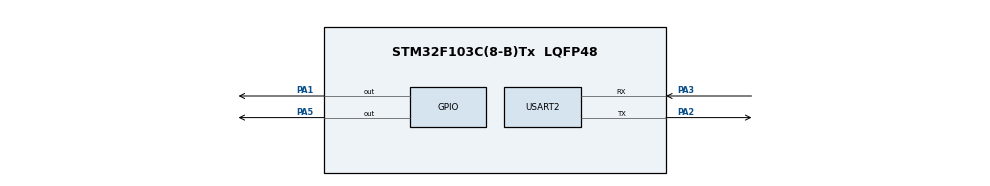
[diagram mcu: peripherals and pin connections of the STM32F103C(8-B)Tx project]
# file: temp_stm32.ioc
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Mcu.Family=STM32F1
Mcu.Name=STM32F103C(8-B)Tx
Mcu.Package=LQFP48
NVIC.PriorityGroup=NVIC_PRIORITYGROUP_4
NVIC.USART2_IRQn=true\:0\:0\:false\:false\:true\:true\:true\:true
PA1.Signal=GPIO_Output
PA2.Mode=Asynchronous
PA2.Signal=USART2_TX
PA3.Mode=Asynchronous
PA3.Signal=USART2_RX
PA5.Signal=GPIO_Output
ProjectManager.HeapSize=0x200
ProjectManager.StackSize=0x400
ProjectManager.TargetToolchain=STM32CubeIDE
RCC.APB1Freq_Value=8000000
RCC.APB2Freq_Value=8000000
USART2.VirtualMode=VM_ASYNC
board=custom

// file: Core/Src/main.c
/* USER CODE BEGIN Header */
/**
  ******************************************************************************
  * @file           : main.c
  * @brief          : Main program body
  ******************************************************************************
  * @attention
  *
  * Copyright (c) 2025 STMicroelectronics.
  * All rights reserved.
  *
  * This software is licensed under terms that can be found in the LICENSE file
  * in the root directory of this software component.
  * If no LICENSE file comes with this software, it is provided AS-IS.
  *
  ******************************************************************************
  */
/* USER CODE END Header */
#include "main.h"

/* USER CODE BEGIN Includes */
#include <string.h>
#include <stdio.h>
/* USER CODE END Includes */

UART_HandleTypeDef huart2;

/* USER CODE BEGIN PV */
uint8_t uart_rx_buffer[1];
/* USER CODE END PV */

void SystemClock_Config(void);
static void MX_GPIO_Init(void);
static void MX_USART2_UART_Init(void);
/* USER CODE BEGIN PFP */
void ProcessCommand(uint8_t cmd);
/* USER CODE END PFP */

/* USER CODE BEGIN 0 */
int __io_putchar(int ch) {
    HAL_UART_Transmit(&huart2, (uint8_t *)&ch, 1, HAL_MAX_DELAY);
    return ch;
}
/* USER CODE END 0 */

int main(void)
{

  /* MCU Configuration--------------------------------------------------------*/

  /* Reset of all peripherals, Initializes the Flash interface and the Systick. */
  HAL_Init();

  /* Configure the system clock */
  SystemClock_Config();

  /* Initialize all configured peripherals */
  MX_GPIO_Init();
  MX_USART2_UART_Init();
  /* USER CODE BEGIN 2 */
  HAL_UART_Receive_IT(&huart2, uart_rx_buffer, 1);

  printf("Send commands:\r\n");
  printf("1 - LED1 ON (PA5)\r\n");
  printf("2 - LED2 ON (PA1)\r\n");
  printf("3 - LED1 OFF\r\n");
  printf("4 - LED2 OFF\r\n");
  /* USER CODE END 2 */

  /* Infinite loop */
  while (1)
  {

  }
}

void SystemClock_Config(void)
{
  RCC_OscInitTypeDef RCC_OscInitStruct = {0};
  RCC_ClkInitTypeDef RCC_ClkInitStruct = {0};

  /** Initializes the RCC Oscillators according to the specified parameters
  * in the RCC_OscInitTypeDef structure.
  */
  RCC_OscInitStruct.OscillatorType = RCC_OSCILLATORTYPE_HSI;
  RCC_OscInitStruct.HSIState = RCC_HSI_ON;
  RCC_OscInitStruct.HSICalibrationValue = RCC_HSICALIBRATION_DEFAULT;
  RCC_OscInitStruct.PLL.PLLState = RCC_PLL_NONE;
  if (HAL_RCC_OscConfig(&RCC_OscInitStruct) != HAL_OK)
  {
    Error_Handler();
  }

  /** Initializes the CPU, AHB and APB buses clocks
  */
  RCC_ClkInitStruct.ClockType = RCC_CLOCKTYPE_HCLK|RCC_CLOCKTYPE_SYSCLK
                              |RCC_CLOCKTYPE_PCLK1|RCC_CLOCKTYPE_PCLK2;
  RCC_ClkInitStruct.SYSCLKSource = RCC_SYSCLKSOURCE_HSI;
  RCC_ClkInitStruct.AHBCLKDivider = RCC_SYSCLK_DIV1;
  RCC_ClkInitStruct.APB1CLKDivider = RCC_HCLK_DIV1;
  RCC_ClkInitStruct.APB2CLKDivider = RCC_HCLK_DIV1;

  if (HAL_RCC_ClockConfig(&RCC_ClkInitStruct, FLASH_LATENCY_0) != HAL_OK)
  {
    Error_Handler();
  }
}

static void MX_USART2_UART_Init(void)
{
  huart2.Instance = USART2;
  huart2.Init.BaudRate = 115200;
  huart2.Init.WordLength = UART_WORDLENGTH_8B;
  huart2.Init.StopBits = UART_STOPBITS_1;
  huart2.Init.Parity = UART_PARITY_NONE;
  huart2.Init.Mode = UART_MODE_TX_RX;
  huart2.Init.HwFlowCtl = UART_HWCONTROL_NONE;
  huart2.Init.OverSampling = UART_OVERSAMPLING_16;
  if (HAL_UART_Init(&huart2) != HAL_OK)
  {
    Error_Handler();
  }
}

static void MX_GPIO_Init(void)
{
  GPIO_InitTypeDef GPIO_InitStruct = {0};

  /* GPIO Ports Clock Enable */
  __HAL_RCC_GPIOD_CLK_ENABLE();
  __HAL_RCC_GPIOA_CLK_ENABLE();

  /*Configure GPIO pins : PA1 PA5 */
  GPIO_InitStruct.Pin = GPIO_PIN_1 | GPIO_PIN_5;
  GPIO_InitStruct.Mode = GPIO_MODE_OUTPUT_PP;
  GPIO_InitStruct.Pull = GPIO_NOPULL;
  GPIO_InitStruct.Speed = GPIO_SPEED_FREQ_LOW;
  HAL_GPIO_Init(GPIOA, &GPIO_InitStruct);

  /*Configure GPIO pin : PA2 */
  GPIO_InitStruct.Pin = GPIO_PIN_2;
  GPIO_InitStruct.Mode = GPIO_MODE_AF_PP;
  GPIO_InitStruct.Speed = GPIO_SPEED_FREQ_HIGH;
  HAL_GPIO_Init(GPIOA, &GPIO_InitStruct);

  /*Configure GPIO pin : PA3 */
  GPIO_InitStruct.Pin = GPIO_PIN_3;
  GPIO_InitStruct.Mode = GPIO_MODE_INPUT;
  GPIO_InitStruct.Pull = GPIO_NOPULL;
  HAL_GPIO_Init(GPIOA, &GPIO_InitStruct);
}

/* USER CODE BEGIN 4 */
void HAL_UART_RxCpltCallback(UART_HandleTypeDef *huart) {
    if (huart->Instance == USART2) {
        ProcessCommand(uart_rx_buffer[0]);
        HAL_UART_Receive_IT(&huart2, uart_rx_buffer, 1);
    }
}

void ProcessCommand(uint8_t cmd) {
    switch(cmd) {
        case '1':
            HAL_GPIO_WritePin(GPIOA, GPIO_PIN_5, GPIO_PIN_SET);
            printf("LED1 ON \n");
            break;
        case '2':
            HAL_GPIO_WritePin(GPIOA, GPIO_PIN_1, GPIO_PIN_SET);
            printf("LED2 ON \n");
            break;
        case '3':
            HAL_GPIO_WritePin(GPIOA, GPIO_PIN_5, GPIO_PIN_RESET);
            printf("LED1 OFF \n");
            break;
        case '4':
            HAL_GPIO_WritePin(GPIOA, GPIO_PIN_1, GPIO_PIN_RESET);
            printf("LED2 OFF \n");
            break;
        default:
            printf("nevernaya komanda: %c\r\n", cmd);
            break;
    }
}
/* USER CODE END 4 */

void Error_Handler(void)
{
  __disable_irq();
  while (1)
  {
  }
}

#ifdef  USE_FULL_ASSERT
/**
  * @brief  Reports the name of the source file and the source line number
  *         where the assert_param error has occurred.
  * @param  file: pointer to the source file name
  * @param  line: assert_param error line source number
  * @retval None
  */
void assert_failed(uint8_t *file, uint32_t line)
{
  /* USER CODE BEGIN 6 */
  printf("Wrong parameters value: file %s on line %d\r\n", file, line);
  /* USER CODE END 6 */
}
#endif /* USE_FULL_ASSERT */
